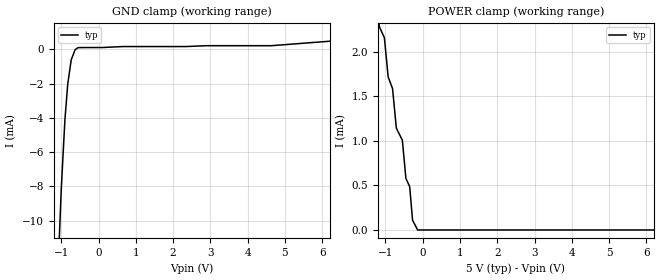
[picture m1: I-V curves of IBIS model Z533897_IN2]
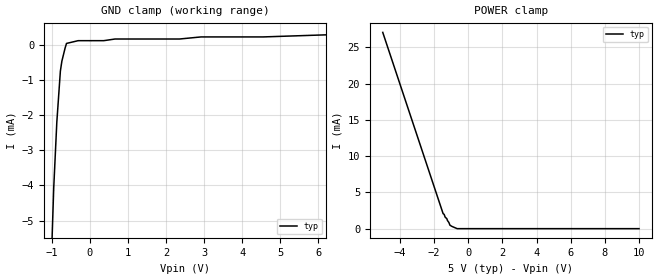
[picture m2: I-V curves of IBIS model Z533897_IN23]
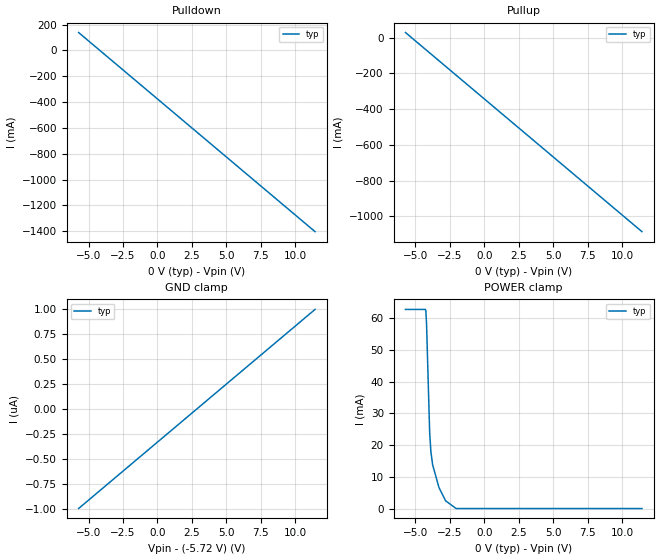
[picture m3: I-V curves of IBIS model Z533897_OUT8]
| YOU ARE ONLY AUTHORIZED TO USE THIS SOFTWARE
| ACCORDING TO LICENSOR'S LICENSE RESTRICTIONS.
[IBIS Ver] 3.1
[File Name] mc10e158fn_pecl.ibs
[File Rev] 2.0
[Source] Measured and created by ICX Technology
[Date] Friday 7/14/00 9:07:49 AM
[Copyright]
| (C) COPYRIGHT 1993-2000
| MENTOR GRAPHICS CORPORATION
| ICX STANDARD LIBRARY, ICX PROJECT MODELING,
| ICX CUSTOM MODELING, ICX VENDOR MODEL
| ALL RIGHTS RESERVED.
| THE FOLLOWING ARE TRADEMARKS OR SERVICE MARKS OF
| MENTOR GRAPHICS CORPORATION:ICX (R), ICX STANDARD
| LIBRARY(R), ICX PROJECT MODELING(R), ICX CUSTOM
| MODELING(R), qualityIBIS(TM), MODELVIEWER(TM),
| AND MODELEDITOR(TM)
| ALL COPIES OF SOFTWARE, INCLUDING BUT NOT LIMITED TO
| ANY MODIFICATIONS, ENHANCEMENTS OR DERIVATIVE WORKS,
| MUST CONTAIN ALL MENTOR GRAPHICS CORPORATION'S
| NOTICES AND LEGENDS, INCLUDING THOSE EMBEDDED IN
| SOFTWARE AND THOSE AFFIXED TO SOFTWARE MEDIUM
| AND CONTAINER, AS RECEIVED FROM MENTOR GRAPHICS
| CORPORATION.
|  ZAP Model Builder 2.7
[Component] MC10E158FN_PECL
[Manufacturer] OnSemiconductor
[Package]
| variable   typ   min   max
R_pkg  .083ohms NA NA
L_pkg  4.299nH NA NA
C_pkg  1.045pF NA NA
[Pin] signal_name  model_name  R_pin  L_pin C_pin
1 VEE GND .08 3.94n .925p
2 SEL Z533897_IN2 .082 4.14n .995p
3 D0A Z533897_IN23 .084 4.354n 1.065p
4 D0B Z533897_IN23 .086 4.583n 1.135p
5 D1A Z533897_IN23 .086 4.583n 1.135p
6 D1B Z533897_IN23 .084 4.354n 1.065p
7 VCCO POWER .082 4.14n .995p
8 Q0 Z533897_OUT8 .08 3.94n .925p
9 _Q0 Z533897_OUT8 .082 4.14n .995p
10 VCCO POWER .084 4.354n 1.065p
11 Q1 Z533897_OUT8 .086 4.583n 1.135p
12 _Q1 Z533897_OUT8 .086 4.583n 1.135p
13 VCCO POWER .084 4.354n 1.065p
14 Q2 Z533897_OUT8 .082 4.14n .995p
15 _Q2 Z533897_OUT8 .08 3.94n .925p
16 VCC POWER .082 4.14n .995p
17 Q3 Z533897_OUT8 .084 4.354n 1.065p
18 _Q3 Z533897_OUT8 .086 4.583n 1.135p
19 VCCO POWER .086 4.583n 1.135p
20 Q4 Z533897_OUT8 .084 4.354n 1.065p
21 _Q4 Z533897_OUT8 .082 4.14n .995p
22 VCCO POWER .08 3.94n .925p
23 D3A Z533897_IN23 .082 4.14n .995p
24 D3B Z533897_IN23 .084 4.354n 1.065p
25 D4A Z533897_IN23 .086 4.583n 1.135p
26 D4B Z533897_IN23 .086 4.583n 1.135p
27 D2A Z533897_IN23 .084 4.354n 1.065p
28 D3B Z533897_IN23 .082 4.14n .995p
| Models and submodels in the file (3): Z533897_IN2 (Input_ECL), Z533897_IN23 (Input_ECL), Z533897_OUT8 (Output_ECL)
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| (C) COPYRIGHT 1993-2000
| MENTOR GRAPHICS CORPORATION
| ICX STANDARD LIBRARY, ICX PROJECT MODELING,
| ICX CUSTOM MODELING, ICX VENDOR MODEL
| ALL RIGHTS RESERVED.
| THE FOLLOWING ARE TRADEMARKS OR SERVICE MARKS OF
| MENTOR GRAPHICS CORPORATION:ICX (R), ICX STANDARD
| LIBRARY(R), ICX PROJECT MODELING(R), ICX CUSTOM
| MODELING(R), qualityIBIS(TM), MODELVIEWER(TM),
| AND MODELEDITOR(TM)
| ALL COPIES OF SOFTWARE, INCLUDING BUT NOT LIMITED TO
| ANY MODIFICATIONS, ENHANCEMENTS OR DERIVATIVE WORKS,
| MUST CONTAIN ALL MENTOR GRAPHICS CORPORATION'S
| NOTICES AND LEGENDS, INCLUDING THOSE EMBEDDED IN
| SOFTWARE AND THOSE AFFIXED TO SOFTWARE MEDIUM
| AND CONTAINER, AS RECEIVED FROM MENTOR GRAPHICS
| CORPORATION.
| Model Application Version 1.89 2/18/99.
[Model] Z533897_IN2
Model_type Input_ECL
Vinl = 3.520V
Vinh = 3.830V
C_comp 4.000pF NA NA
| variable typ   min   max
[Voltage Range] 5.000V NA NA
[GND Clamp Reference] 0.000V NA NA
[POWER Clamp Reference] 5.000V NA NA
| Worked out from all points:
|   GND clamp passes 1 mA (typ) near -0.76 V on its own axis
|   POWER clamp passes 1 mA (typ) near -0.55 V on its own axis
[GND Clamp]
-5V       -419.1mA   NA         NA
-1.074V   -12.16mA   NA         NA
-1V       -8.141mA   NA         NA
-902.6mV  -4.112mA   NA         NA
-825.3mV  -1.993mA   NA         NA
-732mV    -593.3uA   NA         NA
-627.7mV  -9.853uA   NA         NA
-551mV    110.4uA    NA         NA
2.9V      222.1uA    NA         NA
4.636V    222.1uA    NA         NA
10V       1.117mA    NA         NA
[POWER Clamp]
-5V       10.64mA    NA         NA
-1.165V   2.283mA    NA         NA
-1.029V   2.159mA    NA         NA
-927mV    1.718mA    NA         NA
-810mV    1.588mA    NA         NA
-708mV    1.144mA    NA         NA
-547mV    1.008mA    NA         NA
-451mV    578.2uA    NA         NA
-350mV    487uA      NA         NA
-273mV    109.8uA    NA         NA
-136.5mV  0A         NA         NA
10V       0A         NA         NA
| (C) COPYRIGHT 1993-2000
| MENTOR GRAPHICS CORPORATION
| ICX STANDARD LIBRARY, ICX PROJECT MODELING,
| ICX CUSTOM MODELING, ICX VENDOR MODEL
| ALL RIGHTS RESERVED.
| THE FOLLOWING ARE TRADEMARKS OR SERVICE MARKS OF
| MENTOR GRAPHICS CORPORATION:ICX (R), ICX STANDARD
| LIBRARY(R), ICX PROJECT MODELING(R), ICX CUSTOM
| MODELING(R), qualityIBIS(TM), MODELVIEWER(TM),
| AND MODELEDITOR(TM)
| ALL COPIES OF SOFTWARE, INCLUDING BUT NOT LIMITED TO
| ANY MODIFICATIONS, ENHANCEMENTS OR DERIVATIVE WORKS,
| MUST CONTAIN ALL MENTOR GRAPHICS CORPORATION'S
| NOTICES AND LEGENDS, INCLUDING THOSE EMBEDDED IN
| SOFTWARE AND THOSE AFFIXED TO SOFTWARE MEDIUM
| AND CONTAINER, AS RECEIVED FROM MENTOR GRAPHICS
| CORPORATION.
| Model Application Version 1.89 2/18/99.
[Model] Z533897_IN23
Model_type Input_ECL
Vinl = 3.520V
Vinh = 3.830V
C_comp 4.000pF NA NA
| variable typ   min   max
[Voltage Range] 5.000V NA NA
[GND Clamp Reference] 0.000V NA NA
[POWER Clamp Reference] 5.000V NA NA
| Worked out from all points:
|   GND clamp passes 1 mA (typ) near -0.79 V on its own axis
|   POWER clamp passes 1 mA (typ) near -1.17 V on its own axis
[GND Clamp]
-5V       -248.7mA   NA         NA
-1.059V   -7.831mA   NA         NA
-945.5mV  -4.076mA   NA         NA
-864.3mV  -2.201mA   NA         NA
-770.8mV  -742.7uA   NA         NA
-731.5mV  -460.4uA   NA         NA
-610.3mV  44.81uA    NA         NA
-305.2mV  123.3uA    NA         NA
365.9mV   123.3uA    NA         NA
665.2mV   170.8uA    NA         NA
4.549V    229.9uA    NA         NA
10V       426.7uA    NA         NA
[POWER Clamp]
-5V       27.05mA    NA         NA
-1.467V   2.07mA     NA         NA
-1.405V   1.966mA    NA         NA
-1.347V   1.587mA    NA         NA
-1.25V    1.378mA    NA         NA
-1.211V   1.118mA    NA         NA
-1.128V   849.1uA    NA         NA
-1.07V    489uA      NA         NA
-967mV    327.9uA    NA         NA
-644.7mV  0A         NA         NA
10V       0A         NA         NA
| (C) COPYRIGHT 1993-2000
| MENTOR GRAPHICS CORPORATION
| ICX STANDARD LIBRARY, ICX PROJECT MODELING,
| ICX CUSTOM MODELING, ICX VENDOR MODEL
| ALL RIGHTS RESERVED.
| THE FOLLOWING ARE TRADEMARKS OR SERVICE MARKS OF
| MENTOR GRAPHICS CORPORATION:ICX (R), ICX STANDARD
| LIBRARY(R), ICX PROJECT MODELING(R), ICX CUSTOM
| MODELING(R), qualityIBIS(TM), MODELVIEWER(TM),
| AND MODELEDITOR(TM)
| ALL COPIES OF SOFTWARE, INCLUDING BUT NOT LIMITED TO
| ANY MODIFICATIONS, ENHANCEMENTS OR DERIVATIVE WORKS,
| MUST CONTAIN ALL MENTOR GRAPHICS CORPORATION'S
| NOTICES AND LEGENDS, INCLUDING THOSE EMBEDDED IN
| SOFTWARE AND THOSE AFFIXED TO SOFTWARE MEDIUM
| AND CONTAINER, AS RECEIVED FROM MENTOR GRAPHICS
| CORPORATION.
| Model Application Version 1.89 2/18/99.
[Model] Z533897_OUT8
Model_type Output_ECL
Vref=0.000V
Rref=500.0Mohms
Cref=50.00pF
Vmeas=3.620V
C_comp 8.000pF NA NA
| variable typ   min   max
[Voltage Range] -5.720V NA NA
[POWER Clamp Reference] 0.000V NA NA
[Pullup Reference] 0.000V NA NA
[Pulldown Reference] 0.000V NA NA
[GND Clamp Reference] -5.720V NA NA
[GND Clamp]
-5.72V    -1uA       NA         NA
11.44V    1uA        NA         NA
[Pulldown]
-5.72V    138.7mA    NA         NA
11.44V    -1.403A    NA         NA
[Pullup]
-5.72V    29.03mA    NA         NA
11.44V    -1.086A    NA         NA
[POWER Clamp]
-5.72V    62.73mA    NA         NA
-4.277V   62.73mA    NA         NA
-4.239V   62.23mA    NA         NA
-4.189V   57.96mA    NA         NA
-3.965V   24.06mA    NA         NA
-3.877V   17.94mA    NA         NA
-3.749V   13.78mA    NA         NA
-3.291V   6.642mA    NA         NA
-2.812V   2.454mA    NA         NA
-2.048V   0A         NA         NA
11.44V    0A         NA         NA
[Ramp]
| variable typ min max
dV/dt_r 608.8m/338.3p NA NA
dV/dt_f 608.8m/246.6p NA NA
R_load = 500.0Ohms
